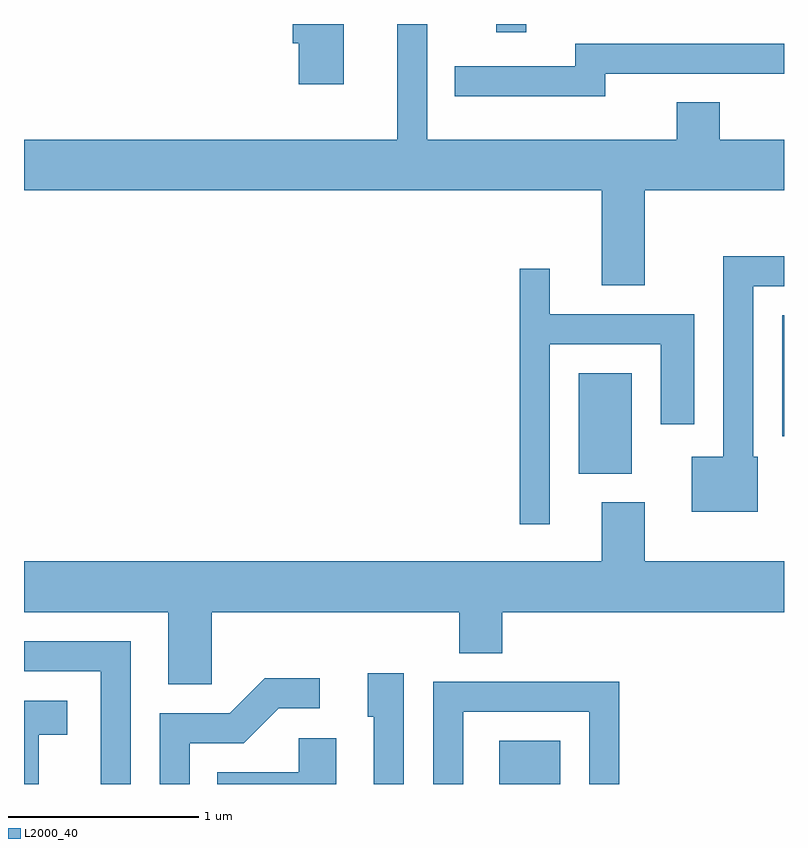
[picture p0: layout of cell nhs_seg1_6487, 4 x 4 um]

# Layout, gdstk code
import gdstk
lib = gdstk.Library(unit=1e-6, precision=1e-09)
def R(c, l, rs):  # rectangles x0, y0, x1, y1
    for r in rs: c.add(gdstk.rectangle(r[:2], r[2:], *l))
def P(c, l, *ps):  # polygons
    for p in ps: c.add(gdstk.Polygon(p, *l))
L2000_40 = (2000, 40)

nhs_seg1_6487 = lib.new_cell('nhs_seg1_6487')
R(nhs_seg1_6487, L2000_40, [(382.111,969.712,382.434,969.939), (382.531,971.346,382.809,971.874), (383.601,971.541,383.611,972.179), (382.096,973.668,382.254,973.712)])
P(nhs_seg1_6487, L2000_40, [(381.294,973.712),(381.026,973.712),(381.026,973.611),(381.056,973.611),(381.056,973.396),(381.294,973.396)],
  [(382.879,972.836),(383.611,972.836),(383.611,973.104),(383.274,973.104),(383.274,973.299),(383.046,973.299),(383.046,973.104),(381.734,973.104),(381.734,973.712),(381.576,973.712),(381.576,973.104),(379.611,973.104),(379.611,972.836),(382.651,972.836),(382.651,972.336),(382.879,972.336)],
  [(382.669,973.451),(383.611,973.451),(383.611,973.609),(382.511,973.609),(382.511,973.489),(381.878,973.489),(381.878,973.331),(382.669,973.331)],
  [(383.474,971.434),(383.449,971.434),(383.449,972.331),(383.611,972.331),(383.611,972.489),(383.291,972.489),(383.291,971.434),(383.126,971.434),(383.126,971.146),(383.474,971.146)],
  [(382.379,972.026),(382.961,972.026),(382.961,971.606),(383.139,971.606),(383.139,972.184),(382.379,972.184),(382.379,972.423),(382.221,972.423),(382.221,971.078),(382.379,971.078)],
  [(380.599,970.616),(381.901,970.616),(381.901,970.401),(382.129,970.401),(382.129,970.616),(383.611,970.616),(383.611,970.884),(382.879,970.884),(382.879,971.194),(382.651,971.194),(382.651,970.884),(379.611,970.884),(379.611,970.616),(380.371,970.616),(380.371,970.236),(380.599,970.236)],
  [(380.174,970.464),(379.611,970.464),(379.611,970.306),(380.016,970.306),(380.016,969.712),(380.174,969.712)],
  [(381.609,970.294),(381.421,970.294),(381.421,970.066),(381.451,970.066),(381.451,969.712),(381.609,969.712)],
  [(380.484,969.926),(380.767,969.926),(380.952,970.111),(381.168,970.111),(381.168,970.269),(380.879,970.269),(380.694,970.084),(380.326,970.084),(380.326,969.712),(380.484,969.712)],
  [(381.924,970.091),(382.586,970.091),(382.586,969.712),(382.744,969.712),(382.744,970.249),(381.766,970.249),(381.766,969.712),(381.924,969.712)],
  [(379.689,969.971),(379.839,969.971),(379.839,970.149),(379.611,970.149),(379.611,969.712),(379.689,969.712)],
  [(381.254,969.954),(381.056,969.954),(381.056,969.774),(380.628,969.774),(380.628,969.712),(381.254,969.712)])

lib.write_gds('nhs_seg1_6487.gds')
